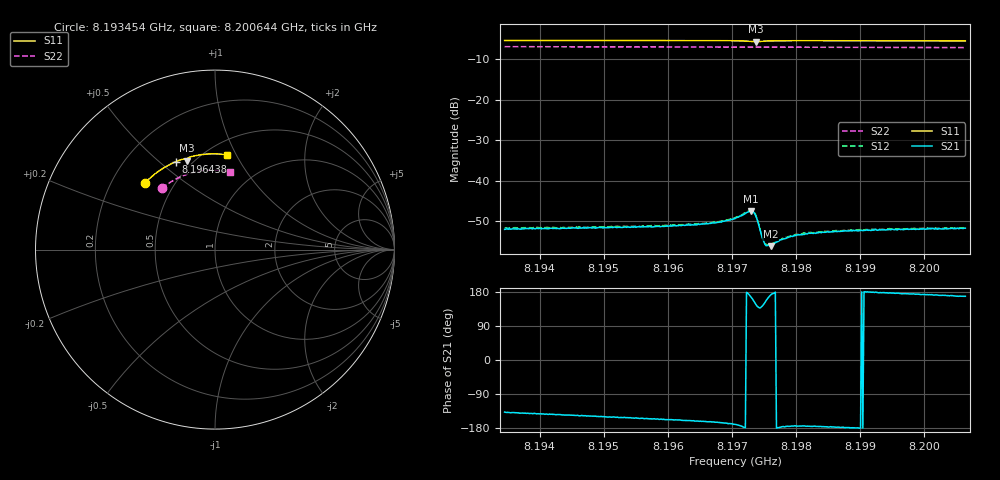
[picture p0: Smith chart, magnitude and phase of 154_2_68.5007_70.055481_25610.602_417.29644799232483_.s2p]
#  HZ  S  RI  R  50.00
! Rohde & Schwarz Vector Network Analyzer
! Rohde-Schwarz,ZNB20-2Port,1311601062101988,3.16
! Created: UTC 3/20/2024, 5:10:39 PM
! freq[Hz]  re:S11  im:S11  re:S21  im:S21  re:S12  im:S12  re:S22  im:S22
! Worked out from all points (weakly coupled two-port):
!   401 points, 8.193454 GHz to 8.200644 GHz, reference 50 ohm
!   highest |S21| = -47.49 dB at 8.197301 GHz (marker M1); lowest = -56.2 dB at 8.197607 GHz (marker M2)
!   lowest |S11| = -5.7 dB at 8.197373 GHz (marker M3), VSWR 3.16, Z = 23.1 + j31.4 ohm
!   |S11| at or under -10 dB: nowhere
!   |S22| runs from -7.1 to -6.9 dB; largest |S21 - S12| = 0.00021
!   S11 on the Smith chart (normalised r, x): 8.193454 GHz: 0.34, +0.36; 8.196438 GHz: 0.41, +0.57; 8.200644 GHz: 0.63, +0.92
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8.1934542e9  -0.3916 0.3702  -0.00184 -0.0017  -0.00199 -0.00169  -0.2955 0.342
8.1946586e9  -0.328 0.4266  -0.00216 -0.00144  -0.00229 -0.00138  -0.2403 0.3807
8.195863e9  -0.2561 0.472  -0.0025 -0.00108  -0.00257 -0.00103  -0.1799 0.4108
8.1964382e9  -0.2188 0.4898  -0.0027 -0.000915  -0.00281 -0.000835  -0.1494 0.4218
8.1967977e9  -0.1942 0.4993  -0.00296 -0.000803  -0.00304 -0.000682  -0.1301 0.4274
8.1970494e9  -0.1752 0.5045  -0.00335 -0.000604  -0.00344 -0.000475  -0.1163 0.431
8.1972471e9  -0.1576 0.5042  -0.00407 0.000269  -0.00414 0.00042  -0.1054 0.4333
8.197301e9  -0.1536 0.5009  -0.0041 0.00102  -0.00415 0.0012  -0.1025 0.4338
8.197337e9  -0.1531 0.4978  -0.00379 0.00161  -0.00378 0.0018  -0.1004 0.434
8.1973729e9  -0.1548 0.496  -0.0031 0.00199  -0.0031 0.00218  -0.0986 0.4346
8.1974089e9  -0.1571 0.4969  -0.00234 0.00196  -0.00228 0.00211  -0.0966 0.4349
8.1974628e9  -0.158 0.5015  -0.00164 0.00136  -0.00159 0.00145  -0.0939 0.4354
8.1974988e9  -0.1565 0.5049  -0.0015 0.000956  -0.00145 0.00104  -0.0919 0.436
8.1975167e9  -0.1554 0.5063  -0.00144 0.000774  -0.00148 0.000866  -0.0908 0.4362
8.1975527e9  -0.1529 0.5086  -0.00149 0.000522  -0.00148 0.000581  -0.0888 0.4368
8.1976066e9  -0.1487 0.5114  -0.00154 0.000228  -0.00156 0.000322  -0.0857 0.4372
8.1977684e9  -0.1363 0.5167  -0.00187 -0.000102  -0.00187 -1.06e-05  -0.0767 0.4387
8.1979122e9  -0.1254 0.52  -0.00203 -0.000178  -0.00208 -9.62e-05  -0.0686 0.4397
8.1982537e9  -0.1006 0.5253  -0.00224 -0.000184  -0.00227 -0.000104  -0.0493 0.4417
8.1985953e9  -0.0763 0.5291  -0.00234 -0.000128  -0.00237 -2.84e-05  -0.0301 0.4429
8.1994581e9  -0.0149 0.5335  -0.0025 0.00013  -0.00255 0.000302  0.0191 0.4419
8.2006445e9  0.0687 0.5279  -0.00253 0.000536  -0.00254 0.000645  0.0858 0.4316
